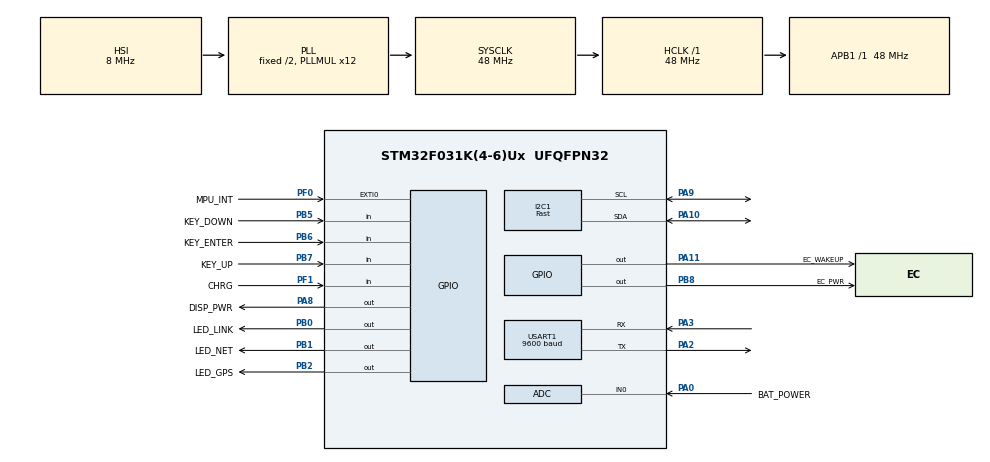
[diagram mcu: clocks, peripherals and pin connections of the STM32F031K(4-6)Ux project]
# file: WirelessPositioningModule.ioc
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Dma.Request0=USART1_RX
Dma.Request1=USART1_TX
Dma.USART1_RX.0.Direction=DMA_PERIPH_TO_MEMORY
Dma.USART1_RX.0.Instance=DMA1_Channel3
Dma.USART1_RX.0.MemDataAlignment=DMA_MDATAALIGN_BYTE
Dma.USART1_RX.0.MemInc=DMA_MINC_ENABLE
Dma.USART1_RX.0.Mode=DMA_NORMAL
Dma.USART1_RX.0.PeriphDataAlignment=DMA_PDATAALIGN_BYTE
Dma.USART1_RX.0.PeriphInc=DMA_PINC_DISABLE
Dma.USART1_RX.0.Priority=DMA_PRIORITY_LOW
Dma.USART1_TX.1.Direction=DMA_MEMORY_TO_PERIPH
Dma.USART1_TX.1.Instance=DMA1_Channel2
Dma.USART1_TX.1.MemDataAlignment=DMA_MDATAALIGN_BYTE
Dma.USART1_TX.1.MemInc=DMA_MINC_ENABLE
Dma.USART1_TX.1.Mode=DMA_NORMAL
Dma.USART1_TX.1.PeriphDataAlignment=DMA_PDATAALIGN_BYTE
Dma.USART1_TX.1.PeriphInc=DMA_PINC_DISABLE
Dma.USART1_TX.1.Priority=DMA_PRIORITY_LOW
I2C1.I2C_Speed_Mode=I2C_Fast
I2C1.Timing=0x0000020B
Mcu.Family=STM32F0
Mcu.Name=STM32F031K(4-6)Ux
Mcu.Package=UFQFPN32
NVIC.DMA1_Channel2_3_IRQn=true\:0\:0\:false\:false\:true\:false\:true
PA0.GPIO_Label=BAT_POWER
PA0.Mode=IN0
PA0.Signal=ADC_IN0
PA10.Mode=I2C
PA10.Signal=I2C1_SDA
PA11.GPIO_Label=EC_WAKEUP
PA11.Signal=GPIO_Output
PA13.Mode=Serial_Wire
PA13.Signal=SYS_SWDIO
PA14.Mode=Serial_Wire
PA14.Signal=SYS_SWCLK
PA2.Mode=Asynchronous
PA2.Signal=USART1_TX
PA3.Mode=Asynchronous
PA3.Signal=USART1_RX
PA8.GPIO_Label=DISP_PWR
PA8.GPIO_PuPd=GPIO_PULLDOWN
PA8.Signal=GPIO_Output
PA9.Mode=I2C
PA9.Signal=I2C1_SCL
PB0.GPIO_Label=LED_LINK
PB0.Signal=GPIO_Output
PB1.GPIO_Label=LED_NET
PB1.Signal=GPIO_Output
PB2.GPIO_Label=LED_GPS
PB2.Signal=GPIO_Output
PB5.GPIO_Label=KEY_DOWN
PB5.Signal=GPIO_Input
PB6.GPIO_Label=KEY_ENTER
PB6.Signal=GPIO_Input
PB7.GPIO_Label=KEY_UP
PB7.Signal=GPIO_Input
PB8.GPIO_Label=EC_PWR
PB8.Signal=GPIO_Output
PF0-OSC_IN.GPIO_Label=MPU_INT
PF0-OSC_IN.Signal=GPXTI0
PF1-OSC_OUT.GPIO_Label=CHRG
PF1-OSC_OUT.Signal=GPIO_Input
ProjectManager.HeapSize=0x200
ProjectManager.StackSize=0x400
ProjectManager.TargetToolchain=STM32CubeIDE
RCC.AHBFreq_Value=48000000
RCC.APB1Freq_Value=48000000
RCC.APB1TimFreq_Value=48000000
RCC.HCLKFreq_Value=48000000
RCC.PLLMUL=RCC_PLL_MUL12
RCC.SYSCLKFreq_VALUE=48000000
RCC.SYSCLKSource=RCC_SYSCLKSOURCE_PLLCLK
RCC.Usart1ClockSelection=RCC_USART1CLKSOURCE_HSI
USART1.BaudRate=9600
USART1.VirtualMode-Asynchronous=VM_ASYNC
board=custom

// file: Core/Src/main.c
/* USER CODE BEGIN Header */
/**
 ******************************************************************************
 * @file           : main.c
 * @brief          : Main program body
 ******************************************************************************
 * @attention
 *
 * Copyright (c) 2021 STMicroelectronics.
 * All rights reserved.
 *
 * This software is licensed under terms that can be found in the LICENSE file
 * in the root directory of this software component.
 * If no LICENSE file comes with this software, it is provided AS-IS.
 *
 ******************************************************************************
 */
/* USER CODE END Header */
#include "main.h"
#include "adc.h"
#include "dma.h"
#include "i2c.h"
#include "usart.h"
#include "gpio.h"

/* USER CODE BEGIN Includes */
#include "oled.h"
#include "ec01g_drv.h"

/* USER CODE END Includes */

/* USER CODE BEGIN PTD */
// extern ec_module ec01g;

/* USER CODE END PTD */

/* USER CODE BEGIN PV */
// uint8_t aRxBuffer[10];
uint8_t aTxStartMessage[] = "\n\r ****UART-Hyperterminal communication based on DMA****\n\r Enter 10 characters using keyboard :\n\r";
uint8_t EC_RESET[] = "AT+ECRST\n";																									  //复位EC-01G;
uint8_t EC_CLOSE_FLY_MODE[] = "AT+CFUN=1\n";																						  //关闭飞行模式;
uint8_t EC_CEREG[] = "AT+CEREG?";																									  //判断PS域附着状态，第二个参数为1或5表示附着正常;
uint8_t EC_SELT_PLATFORM[] = "AT+ECMTCFG=\" cloud\",0,2,1\n";																		  //设置平台为阿里云物联网，数据类型为string格式;
uint8_t EC_SET_CERTIFICATE[] = "AT+ECMTCFG=\"aliauth\",0,\"a1VnGy2Lv50\",\"863155050030517\",\"038d0cddce7d402307b898f061b72bee\"\n"; //分别写入刚才我们生成测试设备的设备证书的ProductKey、DeviceName、DeviceSecret;
uint8_t EC_CREATE_TCP[] = "AT+ECMTOPEN=0,\"a1VnGy2Lv50.iot-as-mqtt.cn-shanghai.aliyuncs.com\",1883\n";								  //建立 tcp，其中域名组成方式为${YourProductKey}.iot-as-mqtt.${YourRegionId}.aliyuncs.com，${YourProductKey}即设备ProductKey，${YourRegionId}即地域，这里我们可以统一选择cn-shanghai，端口统一为1883;
uint8_t EC_CREATE_MQTT[] = "AT+ECMTCONN=0, \"12345\"\n";																			  //创建 mqtt，在阿里物联网平台上注册设备，clientID可为任意字符串（最大48个字节）
uint8_t aRxBuffer[RXBUFFERSIZE];
/* USER CODE END PV */

void SystemClock_Config(void);

int main(void)
{

	/* MCU Configuration--------------------------------------------------------*/

	/* Reset of all peripherals, Initializes the Flash interface and the Systick. */
	HAL_Init();

	/* Configure the system clock */
	SystemClock_Config();

	/* Initialize all configured peripherals */
	MX_GPIO_Init();
	MX_ADC_Init();
	MX_I2C1_Init();
	MX_DMA_Init();
	MX_USART1_UART_Init();
	/* USER CODE BEGIN 2 */
	// OLED_Init();
	//   OLED_WR_Byte(0x55, 0x00);
	HAL_GPIO_WritePin(LED_LINK_GPIO_Port, LED_LINK_Pin, GPIO_PIN_SET);
	HAL_GPIO_WritePin(LED_NET_GPIO_Port, LED_NET_Pin, GPIO_PIN_SET);
	HAL_GPIO_WritePin(LED_GPS_GPIO_Port, LED_GPS_Pin, GPIO_PIN_SET);
	// OLED_Clear();
	// OLED_DrawPoint(16, 16, 1);
	// OLED_ShowNum(0, 0, 88, 2, 16);
	// OLED_ShowString(16, 0, "B");
	// OLED_Fill(0, 0, 127, 63, 1);
	// OLED_Refresh_Gram(); //更新显示
	//  OLED_Display_On();

	EC_Init();
	//复位EC模块;
	if (HAL_OK != HAL_UART_Transmit_DMA(&huart1, (uint8_t *)EC_RESET, COUNTOF(EC_RESET) - 1))
	{
		/* Transfer error in transmission process */
		Error_Handler();
	}
	//关闭飞行模式;
	if (HAL_OK != HAL_UART_Transmit_DMA(&huart1, (uint8_t *)EC_CLOSE_FLY_MODE, COUNTOF(EC_CLOSE_FLY_MODE) - 1))
	{
		/* Transfer error in transmission process */
		Error_Handler();
	}

	if (HAL_UART_Receive_DMA(&huart1, (uint8_t *)aRxBuffer, RXBUFFERSIZE) != HAL_OK)
	{
		/* Transfer error in reception process */
		Error_Handler();
	}

	while (HAL_UART_GetState(&huart1) != HAL_UART_STATE_READY)
	{
	}

	/* USER CODE END 2 */

	/* Infinite loop */
	while (1)
	{

		/* USER CODE BEGIN 3 */

		HAL_GPIO_TogglePin(LED_LINK_GPIO_Port, LED_LINK_Pin);
		HAL_Delay(100);
		// OLED_Power_Control(0);
	}
	/* USER CODE END 3 */
}

void SystemClock_Config(void)
{
	RCC_OscInitTypeDef RCC_OscInitStruct = {0};
	RCC_ClkInitTypeDef RCC_ClkInitStruct = {0};
	RCC_PeriphCLKInitTypeDef PeriphClkInit = {0};

	/** Initializes the RCC Oscillators according to the specified parameters
	 * in the RCC_OscInitTypeDef structure.
	 */
	RCC_OscInitStruct.OscillatorType = RCC_OSCILLATORTYPE_HSI | RCC_OSCILLATORTYPE_HSI14;
	RCC_OscInitStruct.HSIState = RCC_HSI_ON;
	RCC_OscInitStruct.HSI14State = RCC_HSI14_ON;
	RCC_OscInitStruct.HSICalibrationValue = RCC_HSICALIBRATION_DEFAULT;
	RCC_OscInitStruct.HSI14CalibrationValue = 16;
	RCC_OscInitStruct.PLL.PLLState = RCC_PLL_ON;
	RCC_OscInitStruct.PLL.PLLSource = RCC_PLLSOURCE_HSI;
	RCC_OscInitStruct.PLL.PLLMUL = RCC_PLL_MUL12;
	RCC_OscInitStruct.PLL.PREDIV = RCC_PREDIV_DIV1;
	if (HAL_RCC_OscConfig(&RCC_OscInitStruct) != HAL_OK)
	{
		Error_Handler();
	}
	/** Initializes the CPU, AHB and APB buses clocks
	 */
	RCC_ClkInitStruct.ClockType = RCC_CLOCKTYPE_HCLK | RCC_CLOCKTYPE_SYSCLK | RCC_CLOCKTYPE_PCLK1;
	RCC_ClkInitStruct.SYSCLKSource = RCC_SYSCLKSOURCE_PLLCLK;
	RCC_ClkInitStruct.AHBCLKDivider = RCC_SYSCLK_DIV1;
	RCC_ClkInitStruct.APB1CLKDivider = RCC_HCLK_DIV1;

	if (HAL_RCC_ClockConfig(&RCC_ClkInitStruct, FLASH_LATENCY_1) != HAL_OK)
	{
		Error_Handler();
	}
	PeriphClkInit.PeriphClockSelection = RCC_PERIPHCLK_USART1 | RCC_PERIPHCLK_I2C1;
	PeriphClkInit.Usart1ClockSelection = RCC_USART1CLKSOURCE_HSI;
	PeriphClkInit.I2c1ClockSelection = RCC_I2C1CLKSOURCE_HSI;
	if (HAL_RCCEx_PeriphCLKConfig(&PeriphClkInit) != HAL_OK)
	{
		Error_Handler();
	}
}

void Error_Handler(void)
{
	__disable_irq();
	while (1)
	{
	}
}
